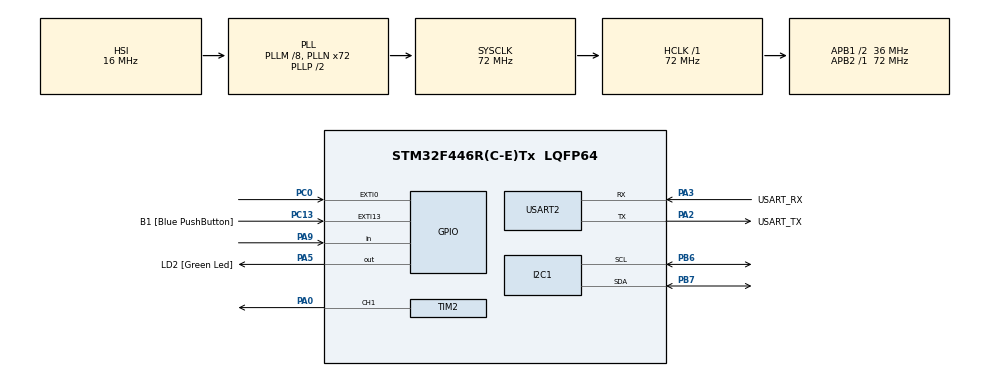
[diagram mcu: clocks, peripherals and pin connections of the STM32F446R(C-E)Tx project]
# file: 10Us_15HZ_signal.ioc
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I2C1.I2C_Mode=I2C_Fast
Mcu.Family=STM32F4
Mcu.Name=STM32F446R(C-E)Tx
Mcu.Package=LQFP64
NVIC.EXTI0_IRQn=true\:0\:0\:false\:false\:true\:true\:true\:true
NVIC.PriorityGroup=NVIC_PRIORITYGROUP_0
PA0-WKUP.Signal=S_TIM2_CH1_ETR
PA13.GPIO_Label=TMS
PA13.Mode=Serial_Wire
PA13.Signal=SYS_JTMS-SWDIO
PA14.GPIO_Label=TCK
PA14.Mode=Serial_Wire
PA14.Signal=SYS_JTCK-SWCLK
PA2.GPIO_Label=USART_TX
PA2.Mode=Asynchronous
PA2.Signal=USART2_TX
PA3.GPIO_Label=USART_RX
PA3.Mode=Asynchronous
PA3.Signal=USART2_RX
PA5.GPIO_Label=LD2 [Green Led]
PA5.Signal=GPIO_Output
PA9.Signal=GPIO_Input
PB3.GPIO_Label=SWO
PB3.Signal=SYS_JTDO-SWO
PB6.Mode=I2C
PB6.Signal=I2C1_SCL
PB7.Mode=I2C
PB7.Signal=I2C1_SDA
PC0.GPIO_ModeDefaultEXTI=GPIO_MODE_IT_RISING_FALLING
PC0.GPIO_PuPd=GPIO_NOPULL
PC0.Signal=GPXTI0
PC13.GPIO_Label=B1 [Blue PushButton]
PC13.GPIO_ModeDefaultEXTI=GPIO_MODE_IT_FALLING
PC13.Signal=GPXTI13
PC14-OSC32_IN.Mode=LSE-External-Oscillator
PC14-OSC32_IN.Signal=RCC_OSC32_IN
PC15-OSC32_OUT.Mode=LSE-External-Oscillator
PC15-OSC32_OUT.Signal=RCC_OSC32_OUT
PH0-OSC_IN.Mode=HSE-External-Oscillator
PH0-OSC_IN.Signal=RCC_OSC_IN
PH1-OSC_OUT.Mode=HSE-External-Oscillator
PH1-OSC_OUT.Signal=RCC_OSC_OUT
ProjectManager.HeapSize=0x200
ProjectManager.StackSize=0x400
ProjectManager.TargetToolchain=STM32CubeIDE
RCC.48MHZClocksFreq_Value=84000000
RCC.AHBFreq_Value=72000000
RCC.APB1CLKDivider=RCC_HCLK_DIV2
RCC.APB1Freq_Value=36000000
RCC.APB1TimFreq_Value=72000000
RCC.APB2Freq_Value=72000000
RCC.APB2TimFreq_Value=72000000
RCC.CortexFreq_Value=72000000
RCC.FLatency-AdvancedSettings=FLASH_LATENCY_2
RCC.HCLKFreq_Value=72000000
RCC.HSE_VALUE=8000000
RCC.HSI_VALUE=16000000
RCC.PLLM=8
RCC.PLLN=72
RCC.SYSCLKFreq_VALUE=72000000
RCC.SYSCLKSource=RCC_SYSCLKSOURCE_PLLCLK
RCC.USBFreq_Value=72000000
RCC.VCOOutputFreq_Value=144000000
SH.S_TIM2_CH1_ETR.0=TIM2_CH1,PWM Generation1 CH1
TIM2.Channel-PWM\ Generation1\ CH1=TIM_CHANNEL_1
TIM2.CounterMode=TIM_COUNTERMODE_UP
TIM2.Period=65535
TIM2.Prescaler=71
TIM2.Pulse-PWM\ Generation1\ CH1=10
USART2.VirtualMode=VM_ASYNC
VP_TIM2_VS_ClockSourceINT.Mode=Internal
board=NUCLEO-F446RE

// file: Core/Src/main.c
/* USER CODE BEGIN Header */
/**
  ******************************************************************************
  * @file           : main.c
  * @brief          : Main program body
  ******************************************************************************
  * @attention
  *
  * Copyright (c) 2025 STMicroelectronics.
  * All rights reserved.
  *
  * This software is licensed under terms that can be found in the LICENSE file
  * in the root directory of this software component.
  * If no LICENSE file comes with this software, it is provided AS-IS.
  *
  ******************************************************************************
  */
/* USER CODE END Header */
#include "main.h"

/* USER CODE BEGIN PD */
#define TRIG_PIN   GPIO_PIN_0   // Replace x with actual pin number
#define TRIG_PORT  GPIOA        // Replace GPIOA with actual port
#define ECHO_PIN   GPIO_PIN_9
#define ECHO_PORT GPIOA
uint32_t pMillis;
uint32_t Value1 = 0;
uint32_t Value2 = 0;
 // cm
/* USER CODE END PD */

I2C_HandleTypeDef hi2c1;

TIM_HandleTypeDef htim2;

UART_HandleTypeDef huart2;

/* USER CODE BEGIN PV */
float Distance = 0;
/* USER CODE END PV */

void SystemClock_Config(void);
static void MX_GPIO_Init(void);
static void MX_USART2_UART_Init(void);
static void MX_TIM2_Init(void);
static void MX_I2C1_Init(void);

int main(void)
{

  /* MCU Configuration--------------------------------------------------------*/

  /* Reset of all peripherals, Initializes the Flash interface and the Systick. */
  HAL_Init();

  /* Configure the system clock */
  SystemClock_Config();

  /* Initialize all configured peripherals */
  MX_GPIO_Init();
  MX_USART2_UART_Init();
  MX_TIM2_Init();
  MX_I2C1_Init();
  /* USER CODE BEGIN 2 */
  HAL_TIM_PWM_Start(&htim2, TIM_CHANNEL_1);

  /* USER CODE END 2 */

  /* Infinite loop */
  while (1)
  {

    /* USER CODE BEGIN 3 */
	  pMillis = HAL_GetTick();
	  while (!(HAL_GPIO_ReadPin (ECHO_PORT, ECHO_PIN))&& (pMillis + 50>  HAL_GetTick()));//&& pMillis + 10 >  HAL_GetTick()
	  Value1 = __HAL_TIM_GET_COUNTER (&htim2);

	  pMillis = HAL_GetTick(); // used this to avoid infinite while loop (for timeout)
	      // wait for the echo pin to go low
	  while ((HAL_GPIO_ReadPin (ECHO_PORT, ECHO_PIN))&& pMillis + 50 >  HAL_GetTick());
	  Value2 = __HAL_TIM_GET_COUNTER (&htim2);

	  Distance = (Value2-Value1)* 0.034/2;
	  HAL_Delay(500);
  }
  /* USER CODE END 3 */
}

void SystemClock_Config(void)
{
  RCC_OscInitTypeDef RCC_OscInitStruct = {0};
  RCC_ClkInitTypeDef RCC_ClkInitStruct = {0};

  /** Configure the main internal regulator output voltage
  */
  __HAL_RCC_PWR_CLK_ENABLE();
  __HAL_PWR_VOLTAGESCALING_CONFIG(PWR_REGULATOR_VOLTAGE_SCALE3);

  /** Initializes the RCC Oscillators according to the specified parameters
  * in the RCC_OscInitTypeDef structure.
  */
  RCC_OscInitStruct.OscillatorType = RCC_OSCILLATORTYPE_HSI;
  RCC_OscInitStruct.HSIState = RCC_HSI_ON;
  RCC_OscInitStruct.HSICalibrationValue = RCC_HSICALIBRATION_DEFAULT;
  RCC_OscInitStruct.PLL.PLLState = RCC_PLL_ON;
  RCC_OscInitStruct.PLL.PLLSource = RCC_PLLSOURCE_HSI;
  RCC_OscInitStruct.PLL.PLLM = 8;
  RCC_OscInitStruct.PLL.PLLN = 72;
  RCC_OscInitStruct.PLL.PLLP = RCC_PLLP_DIV2;
  RCC_OscInitStruct.PLL.PLLQ = 2;
  RCC_OscInitStruct.PLL.PLLR = 2;
  if (HAL_RCC_OscConfig(&RCC_OscInitStruct) != HAL_OK)
  {
    Error_Handler();
  }

  /** Initializes the CPU, AHB and APB buses clocks
  */
  RCC_ClkInitStruct.ClockType = RCC_CLOCKTYPE_HCLK|RCC_CLOCKTYPE_SYSCLK
                              |RCC_CLOCKTYPE_PCLK1|RCC_CLOCKTYPE_PCLK2;
  RCC_ClkInitStruct.SYSCLKSource = RCC_SYSCLKSOURCE_PLLCLK;
  RCC_ClkInitStruct.AHBCLKDivider = RCC_SYSCLK_DIV1;
  RCC_ClkInitStruct.APB1CLKDivider = RCC_HCLK_DIV2;
  RCC_ClkInitStruct.APB2CLKDivider = RCC_HCLK_DIV1;

  if (HAL_RCC_ClockConfig(&RCC_ClkInitStruct, FLASH_LATENCY_2) != HAL_OK)
  {
    Error_Handler();
  }
}

static void MX_I2C1_Init(void)
{

  hi2c1.Instance = I2C1;
  hi2c1.Init.ClockSpeed = 400000;
  hi2c1.Init.DutyCycle = I2C_DUTYCYCLE_2;
  hi2c1.Init.OwnAddress1 = 0;
  hi2c1.Init.AddressingMode = I2C_ADDRESSINGMODE_7BIT;
  hi2c1.Init.DualAddressMode = I2C_DUALADDRESS_DISABLE;
  hi2c1.Init.OwnAddress2 = 0;
  hi2c1.Init.GeneralCallMode = I2C_GENERALCALL_DISABLE;
  hi2c1.Init.NoStretchMode = I2C_NOSTRETCH_DISABLE;
  if (HAL_I2C_Init(&hi2c1) != HAL_OK)
  {
    Error_Handler();
  }

}

static void MX_TIM2_Init(void)
{

  TIM_ClockConfigTypeDef sClockSourceConfig = {0};
  TIM_MasterConfigTypeDef sMasterConfig = {0};
  TIM_OC_InitTypeDef sConfigOC = {0};

  htim2.Instance = TIM2;
  htim2.Init.Prescaler = 71;
  htim2.Init.CounterMode = TIM_COUNTERMODE_UP;
  htim2.Init.Period = 65535;
  htim2.Init.ClockDivision = TIM_CLOCKDIVISION_DIV1;
  htim2.Init.AutoReloadPreload = TIM_AUTORELOAD_PRELOAD_DISABLE;
  if (HAL_TIM_Base_Init(&htim2) != HAL_OK)
  {
    Error_Handler();
  }
  sClockSourceConfig.ClockSource = TIM_CLOCKSOURCE_INTERNAL;
  if (HAL_TIM_ConfigClockSource(&htim2, &sClockSourceConfig) != HAL_OK)
  {
    Error_Handler();
  }
  if (HAL_TIM_PWM_Init(&htim2) != HAL_OK)
  {
    Error_Handler();
  }
  sMasterConfig.MasterOutputTrigger = TIM_TRGO_RESET;
  sMasterConfig.MasterSlaveMode = TIM_MASTERSLAVEMODE_DISABLE;
  if (HAL_TIMEx_MasterConfigSynchronization(&htim2, &sMasterConfig) != HAL_OK)
  {
    Error_Handler();
  }
  sConfigOC.OCMode = TIM_OCMODE_PWM1;
  sConfigOC.Pulse = 10;
  sConfigOC.OCPolarity = TIM_OCPOLARITY_HIGH;
  sConfigOC.OCFastMode = TIM_OCFAST_DISABLE;
  if (HAL_TIM_PWM_ConfigChannel(&htim2, &sConfigOC, TIM_CHANNEL_1) != HAL_OK)
  {
    Error_Handler();
  }
  HAL_TIM_MspPostInit(&htim2);

}

static void MX_USART2_UART_Init(void)
{

  huart2.Instance = USART2;
  huart2.Init.BaudRate = 115200;
  huart2.Init.WordLength = UART_WORDLENGTH_8B;
  huart2.Init.StopBits = UART_STOPBITS_1;
  huart2.Init.Parity = UART_PARITY_NONE;
  huart2.Init.Mode = UART_MODE_TX_RX;
  huart2.Init.HwFlowCtl = UART_HWCONTROL_NONE;
  huart2.Init.OverSampling = UART_OVERSAMPLING_16;
  if (HAL_UART_Init(&huart2) != HAL_OK)
  {
    Error_Handler();
  }

}

static void MX_GPIO_Init(void)
{
  GPIO_InitTypeDef GPIO_InitStruct = {0};

  /* GPIO Ports Clock Enable */
  __HAL_RCC_GPIOC_CLK_ENABLE();
  __HAL_RCC_GPIOH_CLK_ENABLE();
  __HAL_RCC_GPIOA_CLK_ENABLE();
  __HAL_RCC_GPIOB_CLK_ENABLE();

  /*Configure GPIO pin Output Level */
  HAL_GPIO_WritePin(LD2_GPIO_Port, LD2_Pin, GPIO_PIN_RESET);

  /*Configure GPIO pin : B1_Pin */
  GPIO_InitStruct.Pin = B1_Pin;
  GPIO_InitStruct.Mode = GPIO_MODE_IT_FALLING;
  GPIO_InitStruct.Pull = GPIO_NOPULL;
  HAL_GPIO_Init(B1_GPIO_Port, &GPIO_InitStruct);

  /*Configure GPIO pin : PC0 */
  GPIO_InitStruct.Pin = GPIO_PIN_0;
  GPIO_InitStruct.Mode = GPIO_MODE_IT_RISING_FALLING;
  GPIO_InitStruct.Pull = GPIO_NOPULL;
  HAL_GPIO_Init(GPIOC, &GPIO_InitStruct);

  /*Configure GPIO pin : LD2_Pin */
  GPIO_InitStruct.Pin = LD2_Pin;
  GPIO_InitStruct.Mode = GPIO_MODE_OUTPUT_PP;
  GPIO_InitStruct.Pull = GPIO_NOPULL;
  GPIO_InitStruct.Speed = GPIO_SPEED_FREQ_LOW;
  HAL_GPIO_Init(LD2_GPIO_Port, &GPIO_InitStruct);

  /*Configure GPIO pin : PA9 */
  GPIO_InitStruct.Pin = GPIO_PIN_9;
  GPIO_InitStruct.Mode = GPIO_MODE_INPUT;
  GPIO_InitStruct.Pull = GPIO_NOPULL;
  HAL_GPIO_Init(GPIOA, &GPIO_InitStruct);

  /* EXTI interrupt init*/
  HAL_NVIC_SetPriority(EXTI0_IRQn, 0, 0);
  HAL_NVIC_EnableIRQ(EXTI0_IRQn);

}

void Error_Handler(void)
{
  __disable_irq();
  while (1)
  {
  }
}
